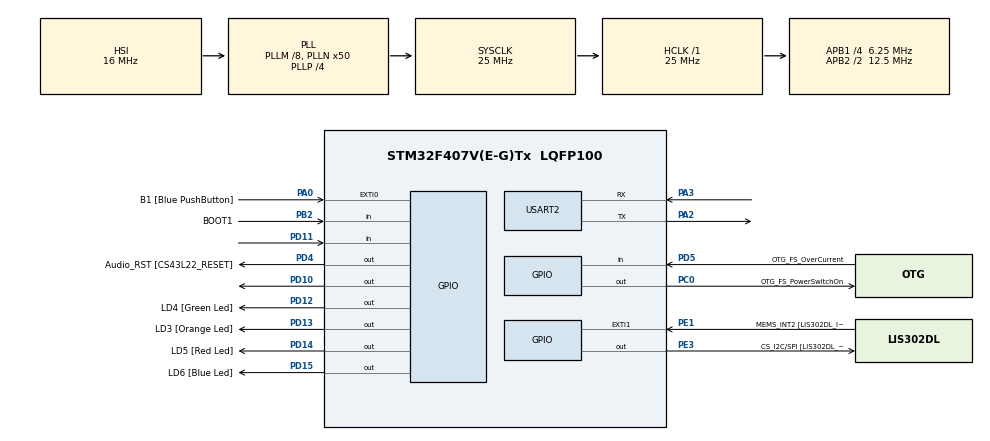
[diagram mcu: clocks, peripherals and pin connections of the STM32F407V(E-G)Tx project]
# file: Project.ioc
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Mcu.Family=STM32F4
Mcu.Name=STM32F407V(E-G)Tx
Mcu.Package=LQFP100
NVIC.PriorityGroup=NVIC_PRIORITYGROUP_0
PA0-WKUP.GPIO_Label=B1 [Blue PushButton]
PA0-WKUP.Signal=GPXTI0
PA10.GPIO_Label=OTG_FS_ID
PA10.GPIO_Mode=GPIO_MODE_AF_PP
PA10.GPIO_PuPd=GPIO_NOPULL
PA10.GPIO_Speed=GPIO_SPEED_FREQ_LOW
PA10.Signal=USB_OTG_FS_ID
PA11.GPIO_Label=OTG_FS_DM
PA11.GPIO_Mode=GPIO_MODE_AF_PP
PA11.GPIO_PuPd=GPIO_NOPULL
PA11.GPIO_Speed=GPIO_SPEED_FREQ_LOW
PA11.Signal=USB_OTG_FS_DM
PA12.GPIO_Label=OTG_FS_DP
PA12.GPIO_Mode=GPIO_MODE_AF_PP
PA12.GPIO_PuPd=GPIO_NOPULL
PA12.GPIO_Speed=GPIO_SPEED_FREQ_LOW
PA12.Signal=USB_OTG_FS_DP
PA13.GPIO_Label=SWDIO
PA13.Signal=SYS_JTMS-SWDIO
PA14.GPIO_Label=SWCLK
PA14.Signal=SYS_JTCK-SWCLK
PA2.Mode=Asynchronous
PA2.Signal=USART2_TX
PA3.Mode=Asynchronous
PA3.Signal=USART2_RX
PA4.GPIO_Label=I2S3_WS [CS43L22_LRCK]
PA4.GPIO_Mode=GPIO_MODE_AF_PP
PA4.GPIO_PuPd=GPIO_NOPULL
PA4.GPIO_Speed=GPIO_SPEED_FREQ_LOW
PA4.Signal=I2S3_WS
PA5.GPIO_Label=SPI1_SCK [LIS302DL_SCL/SPC]
PA5.GPIO_Mode=GPIO_MODE_AF_PP
PA5.GPIO_PuPd=GPIO_NOPULL
PA5.GPIO_Speed=GPIO_SPEED_FREQ_LOW
PA5.Signal=SPI1_SCK
PA6.GPIO_Label=SPI1_MISO [LIS302DL_SDO]
PA6.GPIO_Mode=GPIO_MODE_AF_PP
PA6.GPIO_PuPd=GPIO_NOPULL
PA6.GPIO_Speed=GPIO_SPEED_FREQ_LOW
PA6.Signal=SPI1_MISO
PA7.GPIO_Label=SPI1_MOSI [LIS302DL_SDA/SDI/SDO]
PA7.GPIO_Mode=GPIO_MODE_AF_PP
PA7.GPIO_PuPd=GPIO_NOPULL
PA7.GPIO_Speed=GPIO_SPEED_FREQ_LOW
PA7.Signal=SPI1_MOSI
PA9.GPIO_Label=VBUS_FS
PA9.GPIO_Mode=GPIO_MODE_INPUT
PA9.GPIO_PuPd=GPIO_NOPULL
PA9.Signal=USB_OTG_FS_VBUS
PB10.GPIO_Label=CLK_IN [MP45DT02_CLK]
PB10.GPIO_Mode=GPIO_MODE_AF_PP
PB10.GPIO_PuPd=GPIO_NOPULL
PB10.GPIO_Speed=GPIO_SPEED_FREQ_LOW
PB10.Signal=I2S2_CK
PB2.GPIO_Label=BOOT1
PB2.GPIO_Mode=GPIO_MODE_INPUT
PB2.GPIO_PuPd=GPIO_NOPULL
PB2.Signal=GPIO_Input
PB3.GPIO_Label=SWO
PB3.Signal=SYS_JTDO-SWO
PB6.GPIO_Label=Audio_SCL [CS43L22_SCL]
PB6.GPIO_Mode=GPIO_MODE_AF_OD
PB6.GPIO_PuPd=GPIO_NOPULL
PB6.GPIO_Speed=GPIO_SPEED_FREQ_LOW
PB6.Signal=I2C1_SCL
PB9.GPIO_Label=Audio_SDA [CS43L22_SDA]
PB9.GPIO_Mode=GPIO_MODE_AF_OD
PB9.GPIO_PuPd=GPIO_NOPULL
PB9.GPIO_Speed=GPIO_SPEED_FREQ_LOW
PB9.Signal=I2C1_SDA
PC0.GPIO_Label=OTG_FS_PowerSwitchOn
PC0.GPIO_PuPd=GPIO_NOPULL
PC0.GPIO_Speed=GPIO_SPEED_FREQ_LOW
PC0.PinState=GPIO_PIN_SET
PC0.Signal=GPIO_Output
PC10.GPIO_Label=I2S3_SCK [CS43L22_SCLK]
PC10.GPIO_Mode=GPIO_MODE_AF_PP
PC10.GPIO_PuPd=GPIO_NOPULL
PC10.GPIO_Speed=GPIO_SPEED_FREQ_LOW
PC10.Signal=I2S3_CK
PC12.GPIO_Label=I2S3_SD [CS43L22_SDIN]
PC12.GPIO_Mode=GPIO_MODE_AF_PP
PC12.GPIO_PuPd=GPIO_NOPULL
PC12.GPIO_Speed=GPIO_SPEED_FREQ_LOW
PC12.Signal=I2S3_SD
PC14-OSC32_IN.GPIO_Label=PC14-OSC32_IN
PC14-OSC32_IN.Signal=RCC_OSC32_IN
PC15-OSC32_OUT.GPIO_Label=PC15-OSC32_OUT
PC15-OSC32_OUT.Signal=RCC_OSC32_OUT
PC3.GPIO_Label=PDM_OUT [MP45DT02_DOUT]
PC3.GPIO_Mode=GPIO_MODE_AF_PP
PC3.GPIO_PuPd=GPIO_NOPULL
PC3.GPIO_Speed=GPIO_SPEED_FREQ_LOW
PC3.Signal=I2S2_SD
PC7.GPIO_Label=I2S3_MCK [CS43L22_MCLK]
PC7.GPIO_Mode=GPIO_MODE_AF_PP
PC7.GPIO_PuPd=GPIO_NOPULL
PC7.GPIO_Speed=GPIO_SPEED_FREQ_LOW
PC7.Signal=I2S3_MCK
PD10.Signal=GPIO_Output
PD11.Signal=GPIO_Input
PD12.GPIO_Label=LD4 [Green Led]
PD12.GPIO_PuPd=GPIO_NOPULL
PD12.GPIO_Speed=GPIO_SPEED_FREQ_LOW
PD12.Signal=GPIO_Output
PD13.GPIO_Label=LD3 [Orange Led]
PD13.GPIO_PuPd=GPIO_NOPULL
PD13.GPIO_Speed=GPIO_SPEED_FREQ_LOW
PD13.Signal=GPIO_Output
PD14.GPIO_Label=LD5 [Red Led]
PD14.GPIO_PuPd=GPIO_NOPULL
PD14.GPIO_Speed=GPIO_SPEED_FREQ_LOW
PD14.Signal=GPIO_Output
PD15.GPIO_Label=LD6 [Blue Led]
PD15.GPIO_PuPd=GPIO_NOPULL
PD15.GPIO_Speed=GPIO_SPEED_FREQ_LOW
PD15.Signal=GPIO_Output
PD4.GPIO_Label=Audio_RST [CS43L22_RESET]
PD4.GPIO_PuPd=GPIO_NOPULL
PD4.GPIO_Speed=GPIO_SPEED_FREQ_LOW
PD4.Signal=GPIO_Output
PD5.GPIO_Label=OTG_FS_OverCurrent
PD5.GPIO_Mode=GPIO_MODE_INPUT
PD5.GPIO_PuPd=GPIO_NOPULL
PD5.Signal=GPIO_Input
PE1.GPIO_Label=MEMS_INT2 [LIS302DL_INT2]
PE1.GPIO_ModeDefaultEXTI=GPIO_MODE_EVT_RISING
PE1.GPIO_PuPd=GPIO_NOPULL
PE1.Signal=GPXTI1
PE3.GPIO_Label=CS_I2C/SPI [LIS302DL_CS_I2C/SPI]
PE3.GPIO_PuPd=GPIO_NOPULL
PE3.GPIO_Speed=GPIO_SPEED_FREQ_LOW
PE3.Signal=GPIO_Output
PH0-OSC_IN.GPIO_Label=PH0-OSC_IN
PH0-OSC_IN.Signal=RCC_OSC_IN
PH1-OSC_OUT.GPIO_Label=PH1-OSC_OUT
PH1-OSC_OUT.Signal=RCC_OSC_OUT
ProjectManager.HeapSize=0x200
ProjectManager.StackSize=0x400
ProjectManager.TargetToolchain=SW4STM32
RCC.48MHZClocksFreq_Value=14285714.285714285
RCC.AHBFreq_Value=25000000
RCC.APB1CLKDivider=RCC_HCLK_DIV4
RCC.APB1Freq_Value=6250000
RCC.APB1TimFreq_Value=12500000
RCC.APB2CLKDivider=RCC_HCLK_DIV2
RCC.APB2Freq_Value=12500000
RCC.APB2TimFreq_Value=25000000
RCC.CortexFreq_Value=25000000
RCC.HCLKFreq_Value=25000000
RCC.HSE_VALUE=8000000
RCC.HSI_VALUE=16000000
RCC.LSE_VALUE=32768
RCC.PLLM=8
RCC.PLLN=50
RCC.PLLP=RCC_PLLP_DIV4
RCC.PLLQ=7
RCC.SYSCLKFreq_VALUE=25000000
RCC.SYSCLKSource=RCC_SYSCLKSOURCE_PLLCLK
RCC.VCOOutputFreq_Value=100000000
USART2.VirtualMode=VM_ASYNC
board=STM32F4DISCOVERY

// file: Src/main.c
/**
  ******************************************************************************
  * File Name          : main.c
  * Description        : Main program body
  ******************************************************************************
  ** This notice applies to any and all portions of this file
  * that are not between comment pairs USER CODE BEGIN and
  * USER CODE END. Other portions of this file, whether
  * inserted by the user or by software development tools
  * are owned by their respective copyright owners.
  *
  * COPYRIGHT(c) 2017 STMicroelectronics
  *
  * Redistribution and use in source and binary forms, with or without modification,
  * are permitted provided that the following conditions are met:
  *   1. Redistributions of source code must retain the above copyright notice,
  *      this list of conditions and the following disclaimer.
  *   2. Redistributions in binary form must reproduce the above copyright notice,
  *      this list of conditions and the following disclaimer in the documentation
  *      and/or other materials provided with the distribution.
  *   3. Neither the name of STMicroelectronics nor the names of its contributors
  *      may be used to endorse or promote products derived from this software
  *      without specific prior written permission.
  *
  * THIS SOFTWARE IS PROVIDED BY THE COPYRIGHT HOLDERS AND CONTRIBUTORS "AS IS"
  * AND ANY EXPRESS OR IMPLIED WARRANTIES, INCLUDING, BUT NOT LIMITED TO, THE
  * IMPLIED WARRANTIES OF MERCHANTABILITY AND FITNESS FOR A PARTICULAR PURPOSE ARE
  * DISCLAIMED. IN NO EVENT SHALL THE COPYRIGHT HOLDER OR CONTRIBUTORS BE LIABLE
  * FOR ANY DIRECT, INDIRECT, INCIDENTAL, SPECIAL, EXEMPLARY, OR CONSEQUENTIAL
  * DAMAGES (INCLUDING, BUT NOT LIMITED TO, PROCUREMENT OF SUBSTITUTE GOODS OR
  * SERVICES; LOSS OF USE, DATA, OR PROFITS; OR BUSINESS INTERRUPTION) HOWEVER
  * CAUSED AND ON ANY THEORY OF LIABILITY, WHETHER IN CONTRACT, STRICT LIABILITY,
  * OR TORT (INCLUDING NEGLIGENCE OR OTHERWISE) ARISING IN ANY WAY OUT OF THE USE
  * OF THIS SOFTWARE, EVEN IF ADVISED OF THE POSSIBILITY OF SUCH DAMAGE.
  *
  ******************************************************************************
  */
#include "main.h"
#include "stm32f4xx_hal.h"

UART_HandleTypeDef huart2;

/* USER CODE BEGIN PV */
/* Private variables ---------------------------------------------------------*/
uint32_t distance;
/* USER CODE END PV */

void SystemClock_Config(void);
static void MX_GPIO_Init(void);
static void MX_USART2_UART_Init(void);

/* USER CODE BEGIN PFP */
/* Private function prototypes -----------------------------------------------*/

/* USER CODE END PFP */

/* USER CODE BEGIN 0 */
void delayy(uint32_t time) {
	uint32_t start,current;
	start = DWT->CYCCNT;
	do { current = DWT->CYCCNT; }
	while (current-start < time);

}

uint32_t Read_Distance(void)
{
    uint8_t flag=0;
    uint32_t disTime=0;
    HAL_GPIO_WritePin(GPIOD, GPIO_PIN_10, 0);
    delayy(160);
    HAL_GPIO_WritePin(GPIOD,GPIO_PIN_10,1);
    delayy(800);
    HAL_GPIO_WritePin(GPIOD,GPIO_PIN_10,0);
    delayy(160);
  while(flag == 0)
  {
   while(HAL_GPIO_ReadPin(GPIOD,GPIO_PIN_11))
   {
     disTime++;
     flag = 1;
   }

  }
    return disTime;
}
/* USER CODE END 0 */

int main(void)
{

  /* MCU Configuration----------------------------------------------------------*/

  /* Reset of all peripherals, Initializes the Flash interface and the Systick. */
  HAL_Init();

  /* Configure the system clock */
  SystemClock_Config();

  /* Initialize all configured peripherals */
  MX_GPIO_Init();
  MX_USART2_UART_Init();

  /* USER CODE BEGIN 2 */
  uint8_t a=0;
  /* USER CODE END 2 */

  /* Infinite loop */
  while (1)
  {

  /* USER CODE BEGIN 3 */
	HAL_GPIO_WritePin(GPIOD,GPIO_PIN_12,1);
	distance=Read_Distance();
	HAL_Delay(10);
	if (distance < 10000) {
		HAL_GPIO_WritePin(GPIOD,GPIO_PIN_14,1);
	  	a = 1;
	  	HAL_UART_Transmit(&huart2,&a,1,1000000);
	  	HAL_Delay(10);
	} else {
	    HAL_GPIO_WritePin(GPIOD,GPIO_PIN_14,0);
	    a = 0;
	    HAL_UART_Transmit(&huart2,&a,1,1000000);
	    HAL_Delay(10);
	}
  }
  /* USER CODE END 3 */

}

/** System Clock Configuration
*/
void SystemClock_Config(void)
{

  RCC_OscInitTypeDef RCC_OscInitStruct;
  RCC_ClkInitTypeDef RCC_ClkInitStruct;

    /**Configure the main internal regulator output voltage
    */
  __HAL_RCC_PWR_CLK_ENABLE();

  __HAL_PWR_VOLTAGESCALING_CONFIG(PWR_REGULATOR_VOLTAGE_SCALE1);

    /**Initializes the CPU, AHB and APB busses clocks
    */
  RCC_OscInitStruct.OscillatorType = RCC_OSCILLATORTYPE_HSI;
  RCC_OscInitStruct.HSIState = RCC_HSI_ON;
  RCC_OscInitStruct.HSICalibrationValue = 16;
  RCC_OscInitStruct.PLL.PLLState = RCC_PLL_ON;
  RCC_OscInitStruct.PLL.PLLSource = RCC_PLLSOURCE_HSI;
  RCC_OscInitStruct.PLL.PLLM = 8;
  RCC_OscInitStruct.PLL.PLLN = 50;
  RCC_OscInitStruct.PLL.PLLP = RCC_PLLP_DIV4;
  RCC_OscInitStruct.PLL.PLLQ = 7;
  if (HAL_RCC_OscConfig(&RCC_OscInitStruct) != HAL_OK)
  {
    _Error_Handler(__FILE__, __LINE__);
  }

    /**Initializes the CPU, AHB and APB busses clocks
    */
  RCC_ClkInitStruct.ClockType = RCC_CLOCKTYPE_HCLK|RCC_CLOCKTYPE_SYSCLK
                              |RCC_CLOCKTYPE_PCLK1|RCC_CLOCKTYPE_PCLK2;
  RCC_ClkInitStruct.SYSCLKSource = RCC_SYSCLKSOURCE_PLLCLK;
  RCC_ClkInitStruct.AHBCLKDivider = RCC_SYSCLK_DIV1;
  RCC_ClkInitStruct.APB1CLKDivider = RCC_HCLK_DIV4;
  RCC_ClkInitStruct.APB2CLKDivider = RCC_HCLK_DIV2;

  if (HAL_RCC_ClockConfig(&RCC_ClkInitStruct, FLASH_LATENCY_0) != HAL_OK)
  {
    _Error_Handler(__FILE__, __LINE__);
  }

    /**Configure the Systick interrupt time
    */
  HAL_SYSTICK_Config(HAL_RCC_GetHCLKFreq()/1000);

    /**Configure the Systick
    */
  HAL_SYSTICK_CLKSourceConfig(SYSTICK_CLKSOURCE_HCLK);

  /* SysTick_IRQn interrupt configuration */
  HAL_NVIC_SetPriority(SysTick_IRQn, 0, 0);
}

/* USART2 init function */
static void MX_USART2_UART_Init(void)
{

  huart2.Instance = USART2;
  huart2.Init.BaudRate = 115200;
  huart2.Init.WordLength = UART_WORDLENGTH_8B;
  huart2.Init.StopBits = UART_STOPBITS_1;
  huart2.Init.Parity = UART_PARITY_NONE;
  huart2.Init.Mode = UART_MODE_TX_RX;
  huart2.Init.HwFlowCtl = UART_HWCONTROL_NONE;
  huart2.Init.OverSampling = UART_OVERSAMPLING_16;
  if (HAL_UART_Init(&huart2) != HAL_OK)
  {
    _Error_Handler(__FILE__, __LINE__);
  }

}

/** Configure pins as
        * Analog
        * Input
        * Output
        * EVENT_OUT
        * EXTI
     PC3   ------> I2S2_SD
     PA4   ------> I2S3_WS
     PA5   ------> SPI1_SCK
     PA6   ------> SPI1_MISO
     PA7   ------> SPI1_MOSI
     PB10   ------> I2S2_CK
     PC7   ------> I2S3_MCK
     PA9   ------> USB_OTG_FS_VBUS
     PA10   ------> USB_OTG_FS_ID
     PA11   ------> USB_OTG_FS_DM
     PA12   ------> USB_OTG_FS_DP
     PC10   ------> I2S3_CK
     PC12   ------> I2S3_SD
     PB6   ------> I2C1_SCL
     PB9   ------> I2C1_SDA
*/
static void MX_GPIO_Init(void)
{

  GPIO_InitTypeDef GPIO_InitStruct;

  /* GPIO Ports Clock Enable */
  __HAL_RCC_GPIOE_CLK_ENABLE();
  __HAL_RCC_GPIOC_CLK_ENABLE();
  __HAL_RCC_GPIOH_CLK_ENABLE();
  __HAL_RCC_GPIOA_CLK_ENABLE();
  __HAL_RCC_GPIOB_CLK_ENABLE();
  __HAL_RCC_GPIOD_CLK_ENABLE();

  /*Configure GPIO pin Output Level */
  HAL_GPIO_WritePin(CS_I2C_SPI_GPIO_Port, CS_I2C_SPI_Pin, GPIO_PIN_RESET);

  /*Configure GPIO pin Output Level */
  HAL_GPIO_WritePin(OTG_FS_PowerSwitchOn_GPIO_Port, OTG_FS_PowerSwitchOn_Pin, GPIO_PIN_SET);

  /*Configure GPIO pin Output Level */
  HAL_GPIO_WritePin(GPIOD, GPIO_PIN_10|LD4_Pin|LD3_Pin|LD5_Pin
                          |LD6_Pin|Audio_RST_Pin, GPIO_PIN_RESET);

  /*Configure GPIO pin : CS_I2C_SPI_Pin */
  GPIO_InitStruct.Pin = CS_I2C_SPI_Pin;
  GPIO_InitStruct.Mode = GPIO_MODE_OUTPUT_PP;
  GPIO_InitStruct.Pull = GPIO_NOPULL;
  GPIO_InitStruct.Speed = GPIO_SPEED_FREQ_LOW;
  HAL_GPIO_Init(CS_I2C_SPI_GPIO_Port, &GPIO_InitStruct);

  /*Configure GPIO pin : OTG_FS_PowerSwitchOn_Pin */
  GPIO_InitStruct.Pin = OTG_FS_PowerSwitchOn_Pin;
  GPIO_InitStruct.Mode = GPIO_MODE_OUTPUT_PP;
  GPIO_InitStruct.Pull = GPIO_NOPULL;
  GPIO_InitStruct.Speed = GPIO_SPEED_FREQ_LOW;
  HAL_GPIO_Init(OTG_FS_PowerSwitchOn_GPIO_Port, &GPIO_InitStruct);

  /*Configure GPIO pin : PDM_OUT_Pin */
  GPIO_InitStruct.Pin = PDM_OUT_Pin;
  GPIO_InitStruct.Mode = GPIO_MODE_AF_PP;
  GPIO_InitStruct.Pull = GPIO_NOPULL;
  GPIO_InitStruct.Speed = GPIO_SPEED_FREQ_LOW;
  GPIO_InitStruct.Alternate = GPIO_AF5_SPI2;
  HAL_GPIO_Init(PDM_OUT_GPIO_Port, &GPIO_InitStruct);

  /*Configure GPIO pin : B1_Pin */
  GPIO_InitStruct.Pin = B1_Pin;
  GPIO_InitStruct.Mode = GPIO_MODE_IT_RISING;
  GPIO_InitStruct.Pull = GPIO_NOPULL;
  HAL_GPIO_Init(B1_GPIO_Port, &GPIO_InitStruct);

  /*Configure GPIO pin : I2S3_WS_Pin */
  GPIO_InitStruct.Pin = I2S3_WS_Pin;
  GPIO_InitStruct.Mode = GPIO_MODE_AF_PP;
  GPIO_InitStruct.Pull = GPIO_NOPULL;
  GPIO_InitStruct.Speed = GPIO_SPEED_FREQ_LOW;
  GPIO_InitStruct.Alternate = GPIO_AF6_SPI3;
  HAL_GPIO_Init(I2S3_WS_GPIO_Port, &GPIO_InitStruct);

  /*Configure GPIO pins : SPI1_SCK_Pin SPI1_MISO_Pin SPI1_MOSI_Pin */
  GPIO_InitStruct.Pin = SPI1_SCK_Pin|SPI1_MISO_Pin|SPI1_MOSI_Pin;
  GPIO_InitStruct.Mode = GPIO_MODE_AF_PP;
  GPIO_InitStruct.Pull = GPIO_NOPULL;
  GPIO_InitStruct.Speed = GPIO_SPEED_FREQ_LOW;
  GPIO_InitStruct.Alternate = GPIO_AF5_SPI1;
  HAL_GPIO_Init(GPIOA, &GPIO_InitStruct);

  /*Configure GPIO pin : BOOT1_Pin */
  GPIO_InitStruct.Pin = BOOT1_Pin;
  GPIO_InitStruct.Mode = GPIO_MODE_INPUT;
  GPIO_InitStruct.Pull = GPIO_NOPULL;
  HAL_GPIO_Init(BOOT1_GPIO_Port, &GPIO_InitStruct);

  /*Configure GPIO pin : CLK_IN_Pin */
  GPIO_InitStruct.Pin = CLK_IN_Pin;
  GPIO_InitStruct.Mode = GPIO_MODE_AF_PP;
  GPIO_InitStruct.Pull = GPIO_NOPULL;
  GPIO_InitStruct.Speed = GPIO_SPEED_FREQ_LOW;
  GPIO_InitStruct.Alternate = GPIO_AF5_SPI2;
  HAL_GPIO_Init(CLK_IN_GPIO_Port, &GPIO_InitStruct);

  /*Configure GPIO pins : PD10 LD4_Pin LD3_Pin LD5_Pin
                           LD6_Pin Audio_RST_Pin */
  GPIO_InitStruct.Pin = GPIO_PIN_10|LD4_Pin|LD3_Pin|LD5_Pin
                          |LD6_Pin|Audio_RST_Pin;
  GPIO_InitStruct.Mode = GPIO_MODE_OUTPUT_PP;
  GPIO_InitStruct.Pull = GPIO_NOPULL;
  GPIO_InitStruct.Speed = GPIO_SPEED_FREQ_LOW;
  HAL_GPIO_Init(GPIOD, &GPIO_InitStruct);

  /*Configure GPIO pins : PD11 OTG_FS_OverCurrent_Pin */
  GPIO_InitStruct.Pin = GPIO_PIN_11|OTG_FS_OverCurrent_Pin;
  GPIO_InitStruct.Mode = GPIO_MODE_INPUT;
  GPIO_InitStruct.Pull = GPIO_NOPULL;
  HAL_GPIO_Init(GPIOD, &GPIO_InitStruct);

  /*Configure GPIO pins : I2S3_MCK_Pin I2S3_SCK_Pin I2S3_SD_Pin */
  GPIO_InitStruct.Pin = I2S3_MCK_Pin|I2S3_SCK_Pin|I2S3_SD_Pin;
  GPIO_InitStruct.Mode = GPIO_MODE_AF_PP;
  GPIO_InitStruct.Pull = GPIO_NOPULL;
  GPIO_InitStruct.Speed = GPIO_SPEED_FREQ_LOW;
  GPIO_InitStruct.Alternate = GPIO_AF6_SPI3;
  HAL_GPIO_Init(GPIOC, &GPIO_InitStruct);

  /*Configure GPIO pin : VBUS_FS_Pin */
  GPIO_InitStruct.Pin = VBUS_FS_Pin;
  GPIO_InitStruct.Mode = GPIO_MODE_INPUT;
  GPIO_InitStruct.Pull = GPIO_NOPULL;
  HAL_GPIO_Init(VBUS_FS_GPIO_Port, &GPIO_InitStruct);

  /*Configure GPIO pins : OTG_FS_ID_Pin OTG_FS_DM_Pin OTG_FS_DP_Pin */
  GPIO_InitStruct.Pin = OTG_FS_ID_Pin|OTG_FS_DM_Pin|OTG_FS_DP_Pin;
  GPIO_InitStruct.Mode = GPIO_MODE_AF_PP;
  GPIO_InitStruct.Pull = GPIO_NOPULL;
  GPIO_InitStruct.Speed = GPIO_SPEED_FREQ_LOW;
  GPIO_InitStruct.Alternate = GPIO_AF10_OTG_FS;
  HAL_GPIO_Init(GPIOA, &GPIO_InitStruct);

  /*Configure GPIO pins : Audio_SCL_Pin Audio_SDA_Pin */
  GPIO_InitStruct.Pin = Audio_SCL_Pin|Audio_SDA_Pin;
  GPIO_InitStruct.Mode = GPIO_MODE_AF_OD;
  GPIO_InitStruct.Pull = GPIO_PULLUP;
  GPIO_InitStruct.Speed = GPIO_SPEED_FREQ_LOW;
  GPIO_InitStruct.Alternate = GPIO_AF4_I2C1;
  HAL_GPIO_Init(GPIOB, &GPIO_InitStruct);

  /*Configure GPIO pin : MEMS_INT2_Pin */
  GPIO_InitStruct.Pin = MEMS_INT2_Pin;
  GPIO_InitStruct.Mode = GPIO_MODE_EVT_RISING;
  GPIO_InitStruct.Pull = GPIO_NOPULL;
  HAL_GPIO_Init(MEMS_INT2_GPIO_Port, &GPIO_InitStruct);

}

void _Error_Handler(char * file, int line)
{
  while(1)
  {
  }
}

/************************ (C) COPYRIGHT STMicroelectronics *****END OF FILE****/
